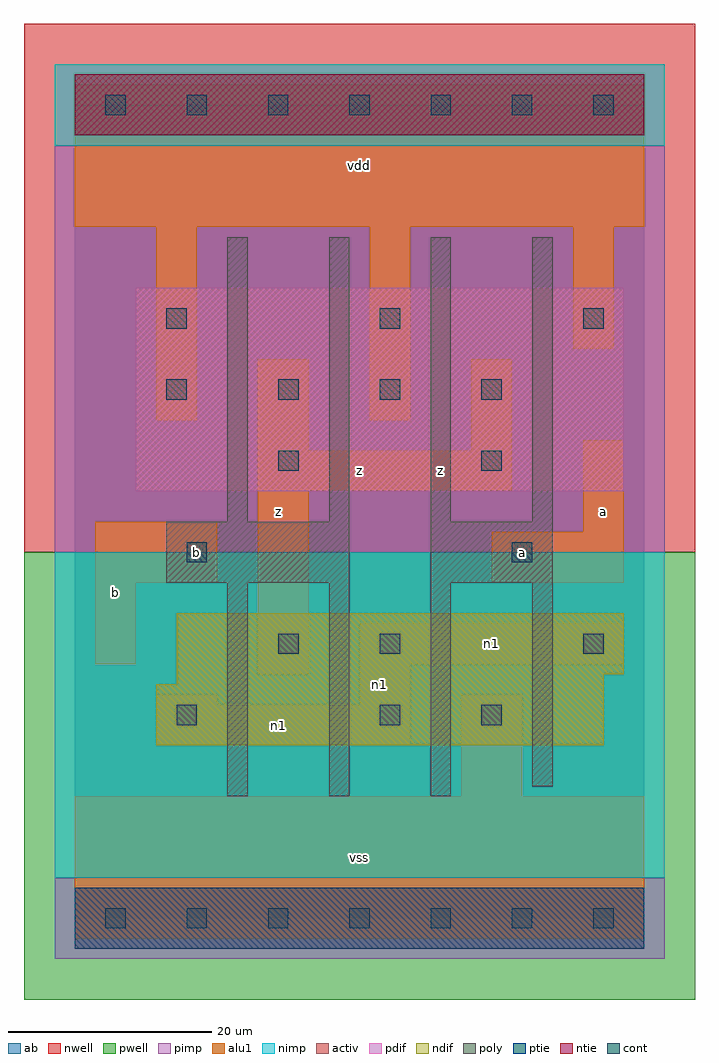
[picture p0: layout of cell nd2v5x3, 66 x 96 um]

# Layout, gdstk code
import gdstk
lib = gdstk.Library(unit=1e-6, precision=1e-09)
def R(c, l, rs):  # rectangles x0, y0, x1, y1
    for r in rs: c.add(gdstk.rectangle(r[:2], r[2:], *l))
def A(c, l, x, y, w, h, nx, ny, dx, dy):  # array of equal rectangles
    R(c, l, [(x+i*dx, y+j*dy, x+i*dx+w, y+j*dy+h) for i in range(nx) for j in range(ny)])
ndif = (3, 0)
pdif = (4, 0)
ntie = (5, 0)
ptie = (6, 0)
cont = (25, 0)
pwell = (41, 0)
nwell = (42, 0)
activ = (43, 0)
pimp = (44, 0)
nimp = (45, 0)
poly = (46, 0)
alu1 = (49, 0)
ab = (63, 0)

nd2v5x3 = lib.new_cell('nd2v5x3')
R(nd2v5x3, ndif, [(8,17,52,23), (10,23,52,24), (10,24,54,30)])
R(nd2v5x3, pdif, [(6,42,54,62)])
R(nd2v5x3, ntie, [(0,77,56,83)])
R(nd2v5x3, ptie, [(0,-3,56,3)])
A(nd2v5x3, cont, 3, -1, 2, 2, 7, 2, 8, 80)
A(nd2v5x3, cont, 20, 51, 2, 2, 3, 1, 10, 0)
R(nd2v5x3, cont, [(10,19,12,21), (30,19,32,21), (40,19,42,21), (20,26,22,28), (30,26,32,28), (50,26,52,28), (11,35,13,37), (43,35,45,37), (20,44,22,46), (40,44,42,46), (9,51,11,53), (9,58,11,60), (30,58,32,60), (50,58,52,60)])
R(nd2v5x3, pwell, [(-5,-8,61,36)])
R(nd2v5x3, nwell, [(-5,36,61,88)])
R(nd2v5x3, activ, [(0,-3,56,3), (8,17,52,23), (10,23,52,24), (10,24,54,30), (6,42,54,62), (0,77,56,83)])
R(nd2v5x3, pimp, [(-2,-4,58,4), (-2,36,58,76)])
R(nd2v5x3, nimp, [(-2,4,58,36), (-2,76,58,84)])
A(nd2v5x3, poly, 15, 12, 2, 21, 3, 1, 10, 0)
A(nd2v5x3, poly, 15, 39, 2, 28, 4, 1, 10, 0)
R(nd2v5x3, poly, [(45,13,47,33), (9,33,27,39), (35,33,47,39)])
R(nd2v5x3, alu1, [(0,-2,56,12), (38,12,44,22), (8,17,33,21), (8,21,14,22), (28,21,33,25), (18,24,23,42), (2,25,6,33), (28,25,54,29), (2,33,14,39), (41,33,54,38), (50,38,54,47), (18,42,43,46), (18,46,23,55), (39,46,43,55), (8,49,12,68), (29,49,33,68), (49,56,53,68), (0,68,56,82)])
R(nd2v5x3, ab, [(0,0,56,80)])
nd2v5x3.add(gdstk.Label('n1', (30,23), layer=49, texttype=0))
nd2v5x3.add(gdstk.Label('n1', (20,19), layer=49, texttype=0))
nd2v5x3.add(gdstk.Label('n1', (41,27), layer=49, texttype=0))
nd2v5x3.add(gdstk.Label('b', (4,32), layer=49, texttype=0))
nd2v5x3.add(gdstk.Label('b', (12,36), layer=49, texttype=0))
nd2v5x3.add(gdstk.Label('z', (20,40), layer=49, texttype=0))
nd2v5x3.add(gdstk.Label('vss', (28,6), layer=49, texttype=0))
nd2v5x3.add(gdstk.Label('z', (36,44), layer=49, texttype=0))
nd2v5x3.add(gdstk.Label('z', (28,44), layer=49, texttype=0))
nd2v5x3.add(gdstk.Label('vdd', (28,74), layer=49, texttype=0))
nd2v5x3.add(gdstk.Label('a', (44,36), layer=49, texttype=0))
nd2v5x3.add(gdstk.Label('a', (52,40), layer=49, texttype=0))

lib.write_gds('nd2v5x3.gds')
